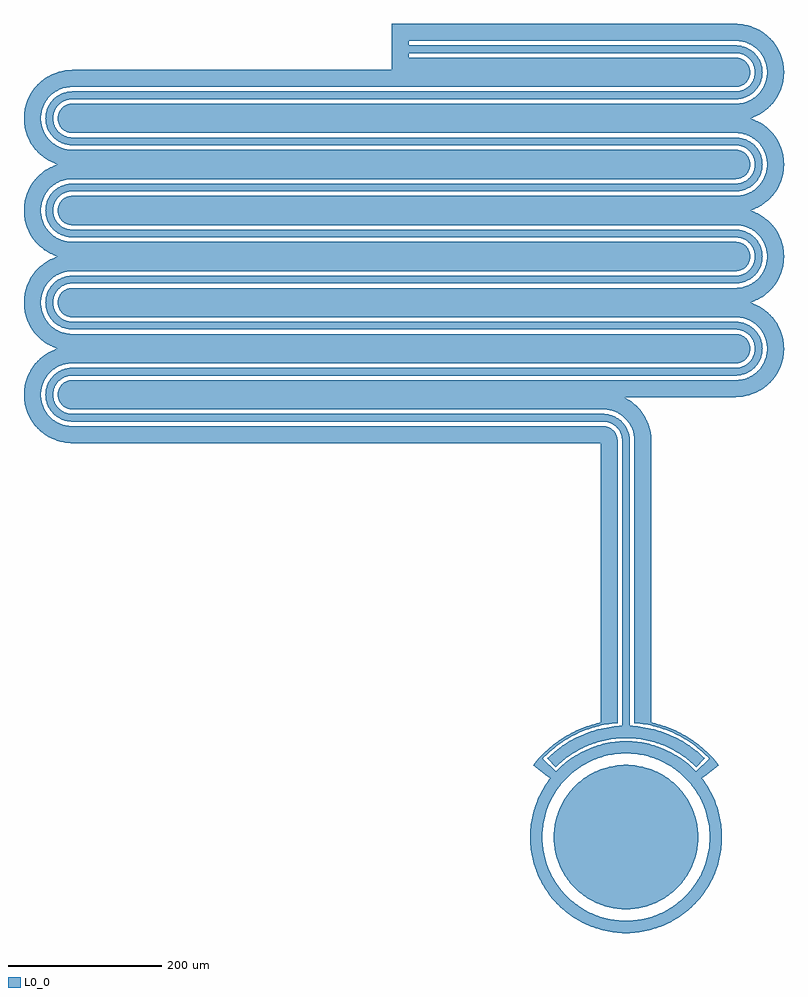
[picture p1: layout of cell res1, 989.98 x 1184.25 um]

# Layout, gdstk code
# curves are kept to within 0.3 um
import gdstk
lib = gdstk.Library(unit=1e-6, precision=1e-09)
def P(c, l, *ps):  # polygons
    for p in ps: c.add(gdstk.Polygon(p, *l))
L0_0 = (0, 0)

res1 = lib.new_cell('res1')
P(res1, L0_0, [(3084,2443.19),(3549.963,2443.19),(3547.222,2448.371),(3543.031,2452.47),(3537.791,2455.096),(3532.84,2455.981),(3106,2456),(3106,2462),(3533.19,2461.972),(3540.177,2460.625),(3544.5,2458.651),(3547.454,2456.651),(3550.894,2453.372),(3553.031,2450.516),(3554.741,2447.385),(3556.216,2443.19),(3566.441,2443.19),(3565.075,2448.447),(3563.109,2453.038),(3559.512,2458.636),(3556.153,2462.331),(3550.922,2466.444),(3546.54,2468.837),(3541.861,2470.582),(3535.327,2471.842),(3106,2472),(3106,2478),(3535.624,2477.84),(3542.758,2476.564),(3547.899,2474.792),(3554.305,2471.402),(3560.013,2466.937),(3564.847,2461.537),(3568.654,2455.371),(3571.316,2448.63),(3572.527,2443.19),(3594.688,2443.19),(3593.762,2449.43),(3592.056,2456.035),(3587.661,2466.51),(3581.457,2476.025),(3573.646,2484.272),(3564.48,2490.982),(3554.258,2495.937),(3543.313,2498.976),(3532,2500),(3084,2500)],
  [(3594.908,2440.411),(3594.688,2443.19),(3572.527,2443.19),(3572.91,2434.281),(3571.792,2427.12),(3568.654,2418.629),(3564.847,2412.463),(3590.015,2412.463),(3592.704,2420.146),(3594.17,2426.808),(3594.908,2433.589)],
  [(3556.295,2442.894),(3556.972,2438.19),(3556.746,2433.442),(3555.625,2428.823),(3553.031,2423.484),(3550.093,2419.748),(3546.501,2416.636),(3542.385,2414.259),(3536.782,2412.463),(3556.947,2412.463),(3561.444,2418.078),(3564.493,2423.992),(3566.368,2430.376),(3567,2437),(3566.441,2443.19)],
  [(3084,2440),(2663.454,2439.836),(2656.687,2438.976),(2650.053,2437.389),(2643.628,2435.095),(2637.49,2432.119),(2631.71,2428.498),(2626.354,2424.272),(2621.488,2419.492),(2615.932,2412.463),(2647.433,2412.463),(2652.101,2414.792),(2657.242,2416.564),(2662.573,2417.639),(2668,2418),(3532.84,2418.019),(3536.985,2418.666),(3540.887,2420.206),(3544.982,2423.127),(3547.71,2426.313),(3549.672,2430.021),(3550.773,2434.069),(3550.884,2439.097),(3549.963,2443.19),(3084,2443.19)],
  [(3564.017,2411.402),(3558.662,2405.853),(3551.177,2400.761),(3542.758,2397.436),(3533.814,2396.04),(2668,2396),(2663.831,2395.537),(2659.865,2394.17),(2656.295,2391.966),(2652.845,2388.456),(3572.149,2388.456),(3578.512,2394.508),(3582.834,2399.786),(3586.56,2405.5),(3590.015,2412.463),(3564.847,2412.463)],
  [(3536.731,2412.452),(3532,2412),(2666.335,2411.96),(2661.376,2411.368),(2656.553,2410.075),(2651.962,2408.109),(2646.969,2404.965),(2642.669,2401.153),(2639.49,2397.302),(2636.891,2393.038),(2634.928,2388.456),(2645.779,2388.456),(2649.106,2393.372),(2654.484,2398.031),(2659.823,2400.625),(2666.81,2401.972),(3532,2402),(3538.624,2402.632),(3545.008,2404.507),(3550.922,2407.556),(3556.947,2412.463)],
  [(2615.856,2412.355),(2612.339,2406.51),(2609.474,2400.319),(2607.296,2393.854),(2606.06,2388.456),(2628.637,2388.456),(2631.346,2395.371),(2636.271,2402.966),(2641.338,2408.147),(2647.433,2412.463)],
  [(2652.778,2388.371),(2650.328,2383.979),(2649.116,2379.097),(2649.227,2374.069),(2650.654,2369.246),(2653.296,2364.967),(2656.969,2361.53),(2662.209,2358.904),(2667.16,2358.019),(3532,2358),(3539.219,2357.359),(3546.45,2355.364),(3581.96,2355.364),(3575.325,2362.738),(3568.29,2368.498),(3560.5,2373.185),(3551.175,2377),(3556.372,2378.905),(3562.51,2381.881),(3572.149,2388.456)],
  [(2634.925,2388.447),(2633.158,2380.327),(2633.158,2373.673),(2634.925,2365.553),(2638.556,2358.078),(2640.488,2355.364),(2655.475,2355.364),(2651.628,2358.106),(2648.349,2361.546),(2645.779,2365.544),(2644.013,2369.957),(2643.113,2374.624),(2643.113,2379.376),(2644.013,2384.043),(2645.779,2388.456)],
  [(2605.83,2387.192),(2605.092,2380.411),(2605.257,2371.32),(2606.727,2362.348),(2608.839,2355.364),(2633.177,2355.364),(2629.866,2361.941),(2627.491,2370.676),(2627.09,2379.719),(2628.637,2388.456),(2606.06,2388.456)],
  [(3546.704,2355.264),(3554.305,2351.402),(3561.31,2345.669),(3566.887,2338.538),(3570.31,2331.584),(3593.288,2331.584),(3591.329,2338.191),(3588.69,2344.481),(3585.387,2350.449),(3581.96,2355.364)],
  [(2641.549,2354.08),(2646.969,2349.035),(2653.46,2345.163),(2659.748,2342.987),(2666.335,2342.04),(3532,2342),(3537.894,2341.295),(3543.456,2339.221),(3548.372,2335.894),(3552.302,2331.584),(3563.816,2331.584),(3561.444,2335.922),(3558.451,2339.92),(3554.92,2343.451),(3550.922,2346.444),(3546.54,2348.837),(3541.861,2350.582),(3533.665,2351.96),(2668,2352),(2660.957,2353.013),(2655.475,2355.364),(2640.488,2355.364)],
  [(2609.474,2353.681),(2612.339,2347.49),(2615.856,2341.645),(2619.984,2336.215),(2624.347,2331.584),(3544.172,2331.584),(3538.586,2334.822),(3532,2336),(2666.186,2336.04),(2657.242,2337.436),(2652.101,2339.208),(2647.239,2341.645),(2639.987,2347.063),(2636.271,2351.034),(2633.177,2355.364),(2608.839,2355.364)],
  [(3570.429,2331.262),(3572.509,2323.324),(3572.91,2314.281),(3571.316,2305.37),(3568.276,2297.914),(3592.039,2297.914),(3593.762,2304.57),(3594.908,2313.589),(3594.743,2322.68),(3593.288,2331.584),(3570.31,2331.584)],
  [(3552.364,2331.501),(3554.741,2327.385),(3556.295,2322.894),(3556.972,2318.19),(3556.746,2313.442),(3555.625,2308.823),(3553.651,2304.5),(3550.894,2300.628),(3548.139,2297.914),(3561.333,2297.914),(3564.493,2303.992),(3566.368,2310.376),(3567,2317),(3566.013,2325.252),(3563.816,2331.584)],
  [(2624.675,2331.262),(2629.874,2326.846),(2635.52,2323.018),(2641.547,2319.823),(2648.825,2317),(2641.547,2314.177),(2633.592,2309.774),(2626.354,2304.272),(2620.098,2297.914),(3532,2298),(3536.169,2298.463),(3539.368,2299.487),(3543.031,2301.53),(3545.583,2303.714),(3547.71,2306.313),(3549.672,2310.021),(3550.995,2316.58),(3550.625,2320.758),(3549.346,2324.754),(3547.222,2328.371),(3544.172,2331.584),(2624.347,2331.584)],
  [(3567.806,2297.026),(3564.847,2292.463),(3562.55,2289.656),(3558.662,2285.853),(3554.305,2282.598),(3549.555,2279.949),(3544.497,2277.951),(3539.219,2276.641),(3533.814,2276.04),(2668,2276),(2665.485,2275.833),(2663.164,2275.371),(3579.272,2275.371),(3582.834,2279.786),(3586.56,2285.5),(3589.646,2291.584),(3592.039,2297.914),(3568.276,2297.914)],
  [(3548.038,2297.831),(3544.5,2295.349),(3540.177,2293.375),(3535.558,2292.254),(3532,2292),(2666.335,2291.96),(2658.139,2290.582),(2650.5,2287.311),(2643.847,2282.331),(2638.22,2275.371),(2651.053,2275.371),(2654.484,2278.031),(2658.708,2280.209),(2663.269,2281.548),(2668,2282),(3533.665,2282.04),(3540.252,2282.987),(3546.54,2285.163),(3552.302,2288.49),(3557.331,2292.847),(3561.333,2297.914)],
  [(2619.984,2297.785),(2615.856,2292.355),(2612.339,2286.51),(2607.747,2275.371),(2631.346,2275.371),(2634.1,2280.06),(2637.45,2284.344),(2641.338,2288.147),(2645.695,2291.402),(2650.445,2294.051),(2655.503,2296.049),(2660.781,2297.359),(2665.485,2297.914)],
  [(2663.015,2275.334),(2657.664,2272.942),(2653.296,2269.033),(2650.328,2263.979),(2649.042,2258.26),(2649.56,2252.422),(2651.833,2247.019),(2655.645,2242.566),(2660.632,2239.487),(3578.516,2239.487),(3573.646,2244.272),(3566.408,2249.774),(3558.453,2254.177),(3551.175,2257),(3558.453,2259.823),(3566.408,2264.226),(3573.646,2269.728),(3579.272,2275.371)],
  [(2637.689,2274.5),(2634.925,2268.447),(2633.158,2260.327),(2633.158,2253.673),(2634.925,2245.553),(2637.697,2239.487),(2650.168,2239.487),(2646.969,2243.484),(2644.791,2247.708),(2643.254,2253.442),(2643.028,2258.19),(2643.705,2262.894),(2645.259,2267.385),(2647.636,2271.501),(2651.053,2275.371),(2638.22,2275.371)],
  [(2607.296,2273.854),(2605.502,2264.941),(2605.01,2255.863),(2605.83,2246.808),(2607.492,2239.487),(2630.939,2239.487),(2629.237,2243.642),(2627.81,2248.89),(2627.01,2257.907),(2628.208,2266.88),(2631.346,2275.371),(2607.747,2275.371)],
  [(2660.781,2239.428),(2664.655,2238.297),(2668,2238),(3533.814,2237.96),(3539.219,2237.359),(3544.497,2236.049),(3549.555,2234.051),(3554.305,2231.402),(3558.662,2228.147),(3562.55,2224.344),(3565.9,2220.06),(3568.156,2216.312),(3591.963,2216.312),(3589.646,2222.416),(3586.56,2228.5),(3582.834,2234.214),(3578.516,2239.487)],
  [(2638.556,2238.078),(2643.847,2231.669),(2650.5,2226.689),(2658.139,2223.418),(2663.019,2222.356),(2668,2222),(3532,2222),(3535.558,2221.746),(3540.177,2220.625),(3544.5,2218.651),(3547.865,2216.312),(3561.18,2216.312),(3558.451,2219.92),(3554.92,2223.451),(3548.038,2228.109),(3540.252,2231.013),(3532,2232),(2668,2232),(2663.269,2232.452),(2658.708,2233.791),(2654.484,2235.969),(2650.168,2239.487),(2637.697,2239.487)],
  [(2607.944,2237.965),(2612.339,2227.49),(2615.856,2221.645),(2619.905,2216.312),(2663.015,2216.312),(2653.788,2218.542),(2648.823,2220.761),(2644.195,2223.618),(2639.987,2227.063),(2636.271,2231.034),(2633.113,2235.462),(2630.939,2239.487),(2607.492,2239.487)],
  [(3568.654,2215.371),(3571.792,2206.88),(3572.91,2199.719),(3572.509,2190.676),(3570.285,2182.348),(3593.273,2182.348),(3594.743,2191.32),(3594.908,2200.411),(3593.762,2209.43),(3591.963,2216.312),(3568.156,2216.312)],
  [(3548.038,2216.169),(3550.894,2213.372),(3553.651,2209.5),(3555.625,2205.177),(3556.746,2200.558),(3556.972,2195.81),(3556.295,2191.106),(3554.741,2186.615),(3552.251,2182.348),(3563.783,2182.348),(3566.013,2188.748),(3567,2197),(3566.368,2203.624),(3563.837,2211.54),(3561.18,2216.312)],
  [(2619.984,2216.215),(2626.354,2209.728),(2633.592,2204.226),(2641.547,2199.823),(2648.825,2197),(2641.547,2194.177),(2635.52,2190.982),(2629.874,2187.154),(2624.278,2182.348),(3544.089,2182.348),(3546.704,2184.967),(3548.986,2188.487),(3550.44,2192.422),(3550.995,2196.58),(3550.773,2199.931),(3549.672,2203.979),(3547.71,2207.687),(3545.583,2210.286),(3543.031,2212.47),(3539.368,2214.513),(3536.169,2215.537),(3532,2216)],
  [(3570.134,2181.941),(3565.9,2173.94),(3560.013,2167.063),(3552.761,2161.645),(3544.729,2158.031),(3581.5,2158.031),(3585.387,2163.551),(3588.69,2169.519),(3591.329,2175.809),(3593.273,2182.348),(3570.285,2182.348)],
  [(3551.651,2181.546),(3548.372,2178.106),(3543.456,2174.779),(3537.894,2172.705),(3532,2172),(2666.335,2171.96),(2658.139,2170.582),(2651.962,2168.109),(2645.08,2163.451),(2640.035,2158.031),(2654.484,2158.031),(2660.957,2160.987),(2668,2162),(3533.665,2162.04),(3540.252,2162.987),(3546.54,2165.163),(3552.302,2168.49),(3557.331,2172.847),(3560.51,2176.698),(3563.783,2182.348),(3552.251,2182.348)],
  [(2623.052,2181.144),(2618.543,2176.025),(2614.613,2170.449),(2611.31,2164.481),(2608.617,2158.031),(2632.815,2158.031),(2638.69,2165.669),(2642.742,2169.296),(2647.239,2172.355),(2652.101,2174.792),(2657.242,2176.564),(2666.186,2177.96),(3532,2178),(3538.586,2179.178),(3544.089,2182.348),(2624.278,2182.348)],
  [(3544.497,2157.951),(3537.427,2156.361),(3532,2156),(2667.16,2155.981),(2660.632,2154.513),(2656.969,2152.47),(2654.417,2150.286),(2652.29,2147.687),(2650.328,2143.979),(2649.227,2139.931),(2649.005,2136.58),(2650.328,2130.021),(2653.636,2124.57),(3573.295,2124.57),(3568.29,2128.498),(3562.51,2132.119),(3556.372,2135.095),(3551.175,2137),(3560.5,2140.815),(3568.29,2145.502),(3575.325,2151.262),(3581.5,2158.031)],
  [(2639.49,2157.302),(2636.163,2151.54),(2633.632,2143.624),(2633,2137),(2633.632,2130.376),(2635.291,2124.57),(2646.311,2124.57),(2644.375,2128.823),(2643.254,2133.442),(2643.028,2138.19),(2643.705,2142.894),(2645.259,2147.385),(2647.636,2151.501),(2650.748,2155.093),(2654.484,2158.031),(2640.035,2158.031)],
  [(2607.944,2156.035),(2606.238,2149.43),(2605.092,2140.411),(2605.092,2133.589),(2606.238,2124.57),(2628.94,2124.57),(2627.251,2132.474),(2627.251,2141.526),(2629.237,2150.358),(2632.815,2158.031),(2608.617,2158.031)],
  [(2653.788,2124.392),(2656.295,2122.034),(2659.865,2119.83),(2663.831,2118.463),(2668,2118),(3533.814,2117.96),(3542.758,2116.564),(3547.899,2114.792),(3552.761,2112.355),(3560.013,2106.937),(3566.107,2099.741),(3590.744,2099.741),(3587.661,2106.51),(3584.144,2112.355),(3578.512,2119.492),(3573.295,2124.57)],
  [(2635.507,2123.992),(2637.689,2119.5),(2640.488,2115.364),(2643.847,2111.669),(2647.698,2108.49),(2651.962,2105.891),(2656.553,2103.925),(2661.376,2102.632),(2666.335,2102.04),(3532,2102),(3536.731,2101.548),(3542.385,2099.741),(3558.599,2099.741),(3553.636,2104.512),(3548.038,2108.109),(3541.861,2110.582),(3533.665,2111.96),(2668,2112),(2662.106,2112.705),(2655.5,2115.349),(2649.907,2119.748),(2646.311,2124.57),(2635.291,2124.57)],
  [(2606.727,2122.348),(2608.671,2115.809),(2610.879,2110.449),(2613.44,2105.5),(2617.2,2099.741),(2650.91,2099.741),(2644.195,2103.618),(2637.45,2109.656),(2632.194,2117.026),(2628.94,2124.57),(2606.238,2124.57)],
  [(3566.887,2098.538),(3570.763,2090.358),(3572.509,2083.324),(3572.91,2074.281),(3571.572,2066.313),(3594.08,2066.313),(3594.908,2073.589),(3594.743,2082.68),(3593.273,2091.652),(3590.744,2099.741),(3566.107,2099.741)],
  [(3543.456,2099.221),(3547.454,2096.651),(3550.894,2093.372),(3553.651,2089.5),(3555.625,2085.177),(3556.746,2080.558),(3556.972,2075.81),(3556.295,2071.106),(3554.594,2066.313),(3565.318,2066.313),(3566.842,2073.673),(3566.644,2081.981),(3564.493,2090.008),(3561.444,2095.922),(3558.599,2099.741),(3542.385,2099.741)],
  [(2618.543,2097.975),(2624.675,2091.262),(2631.71,2085.502),(2639.5,2080.815),(2648.825,2077),(2643.628,2075.095),(2637.49,2072.119),(2628.808,2066.313),(3547.71,2066.313),(3550.22,2071.61),(3550.995,2076.58),(3550.773,2079.931),(3549.672,2083.979),(3547.71,2087.687),(3545.583,2090.286),(3543.031,2092.47),(3539.368,2094.513),(3532.84,2095.981),(2668,2096),(2659.003,2096.999),(2650.91,2099.741),(2617.2,2099.741)],
  [(3571.316,2065.37),(3567.806,2057.026),(3562.55,2049.656),(3555.805,2043.618),(3547.928,2039.221),(3582.404,2039.221),(3586.56,2045.5),(3589.646,2051.584),(3592.056,2057.965),(3594.08,2066.313),(3571.572,2066.313)],
  [(3554.221,2065.544),(3550.894,2060.628),(3545.516,2055.969),(3540.177,2053.375),(3533.19,2052.028),(2668,2052),(2661.376,2051.368),(2653.46,2048.837),(2646.364,2044.512),(2640.971,2039.221),(2656.544,2039.221),(2662.106,2041.295),(2668,2042),(3533.665,2042.04),(3540.252,2042.987),(3546.54,2045.163),(3553.636,2049.488),(3558.451,2054.08),(3562.311,2059.5),(3565.318,2066.313),(3554.594,2066.313)],
  [(2628.088,2065.745),(2623.052,2061.144),(2617.166,2054.214),(2612.339,2046.51),(2609.06,2039.221),(2633.556,2039.221),(2636.271,2042.966),(2639.987,2046.937),(2647.239,2052.355),(2652.101,2054.792),(2657.242,2056.564),(2666.186,2057.96),(3532,2058),(3536.169,2058.463),(3540.887,2060.206),(3544.982,2063.127),(3547.71,2066.313),(2628.808,2066.313)],
  [(3547.899,2039.208),(3540.997,2036.999),(3532,2036),(2667.16,2035.981),(2660.632,2034.513),(2656.969,2032.47),(2654.417,2030.286),(2652.29,2027.687),(2650.328,2023.979),(2649.227,2019.931),(2649.005,2016.58),(2649.78,2011.61),(2651.762,2007.139),(3397.334,2007.139),(3392.019,2010.776),(3386.029,2014),(3532,2014),(3538.811,2014.369),(3545.543,2015.473),(3556.372,2018.905),(3566.408,2024.226),(3575.325,2031.262),(3582.404,2039.221)],
  [(2640.488,2038.636),(2636.163,2031.54),(2633.632,2023.624),(2633.04,2015.335),(2634.418,2007.139),(2645.035,2007.139),(2643.705,2011.106),(2643.028,2015.81),(2643.254,2020.558),(2644.375,2025.177),(2646.349,2029.5),(2649.106,2033.372),(2652.546,2036.651),(2656.544,2039.221),(2640.971,2039.221)],
  [(2608.671,2038.191),(2606.727,2031.652),(2605.257,2022.68),(2605.01,2015.863),(2605.782,2007.139),(2628.204,2007.139),(2627.01,2016.093),(2627.491,2023.324),(2629.866,2032.059),(2633.556,2039.221),(2609.06,2039.221)],
  [(2651.833,2007.019),(2655.018,2003.127),(2659.113,2000.206),(2663.831,1998.463),(2668,1998),(3360.988,1997.961),(3369.812,1996.603),(3374.89,1994.879),(3379.7,1992.507),(3386.899,1987.228),(3390.608,1983.354),(3393.303,1979.741),(3417.948,1979.741),(3414.139,1987.833),(3409.064,1995.504),(3402.927,2002.354),(3397.334,2007.139)],
  [(2634.925,2005.553),(2636.891,2000.962),(2639.49,1996.698),(2642.669,1992.847),(2646.364,1989.488),(2650.5,1986.689),(2654.992,1984.507),(2661.376,1982.632),(2666.335,1982.04),(3359.2,1982),(3363.931,1981.548),(3369.585,1979.741),(3385.799,1979.741),(3380.836,1984.512),(3373.74,1988.837),(3365.824,1991.368),(3359.2,1992),(2666.81,1992.028),(2659.823,1993.375),(2653.499,1996.636),(2648.349,2001.546),(2645.035,2007.139),(2634.418,2007.139)],
  [(2605.83,2006.808),(2607.944,1997.965),(2610.354,1991.584),(2613.44,1985.5),(2617.2,1979.741),(2650.91,1979.741),(2642.742,1984.704),(2636.271,1991.034),(2631.346,1998.629),(2628.204,2007.139),(2605.782,2007.139)],
  [(3393.779,1979.029),(3396.359,1974.327),(3398.803,1967.612),(3399.849,1962.352),(3400.2,1957),(3400.2,1589.323),(3414.785,1587.525),(3429.915,1584.057),(3442.735,1584.057),(3433.843,1587.08),(3422.2,1590.127),(3422.2,1957),(3421.822,1963.89),(3420.151,1972.935),(3417.948,1979.741),(3393.303,1979.741)],
  [(3370.656,1979.221),(3375.572,1975.894),(3380.231,1970.516),(3382.825,1965.177),(3384.172,1958.19),(3384.2,1585.65),(3367.189,1584.057),(3411.211,1584.057),(3394.2,1585.65),(3394.042,1960.327),(3393.213,1965.252),(3391.693,1970.008),(3389.511,1974.5),(3385.799,1979.741),(3369.585,1979.741)],
  [(2618.543,1977.975),(2623.052,1972.856),(2628.088,1968.255),(2633.592,1964.226),(2639.5,1960.815),(2645.742,1958.063),(2652.244,1956.002),(2658.932,1954.656),(2665.726,1954.041),(3356.2,1954),(3356.2,1590.127),(3344.557,1587.08),(3335.665,1584.057),(3348.485,1584.057),(3363.615,1587.525),(3378.2,1589.323),(3378.182,1957.829),(3377.321,1962.713),(3375.224,1967.209),(3372.036,1971.008),(3367.973,1973.853),(3364.118,1975.353),(3359.2,1976),(2668,1976),(2659.003,1976.999),(2650.91,1979.741),(2617.2,1979.741)],
  [(3431.466,1583.618),(3444.418,1579.128),(3459.939,1571.875),(3471.692,1564.819),(3482.845,1556.631),(3489.078,1556.631),(3480.294,1563.664),(3471.688,1569.597),(3462.698,1574.928),(3453.364,1579.633),(3442.735,1584.057),(3429.915,1584.057)],
  [(3363.835,1583.502),(3347.312,1579.556),(3331.364,1573.704),(3316.21,1566.027),(3302.058,1556.631),(3332.553,1556.631),(3346.186,1562.355),(3360.705,1566.551),(3375.616,1569.021),(3387.688,1569.729),(3402.784,1569.021),(3417.695,1566.551),(3432.214,1562.355),(3445.847,1556.631),(3476.342,1556.631),(3465.107,1564.282),(3450.137,1572.312),(3437.549,1577.44),(3424.535,1581.367),(3411.211,1584.057),(3367.189,1584.057)],
  [(3384.412,1565.646),(3371.698,1564.507),(3362.275,1562.804),(3353.01,1560.384),(3342.39,1556.631),(3436.01,1556.631),(3422.323,1561.27),(3409.857,1564.019),(3397.176,1565.483)],
  [(3334.669,1583.69),(3321.889,1578.136),(3309.668,1571.442),(3298.106,1563.664),(3289.322,1556.631),(3295.555,1556.631),(3306.708,1564.819),(3321.497,1573.468),(3333.982,1579.128),(3348.485,1584.057),(3335.665,1584.057)],
  [(3287.3,1554.867),(3277.339,1545.123),(3268.306,1534.513),(3286.714,1520.234),(3314.625,1520.234),(3323.121,1527.425),(3329.951,1532.229),(3337.129,1536.496),(3347.166,1541.307),(3354.988,1544.23),(3363.011,1546.545),(3373.938,1548.664),(3382.245,1549.516),(3393.375,1549.658),(3404.462,1548.664),(3415.389,1546.545),(3426.044,1543.322),(3436.314,1539.03),(3446.093,1533.712),(3455.279,1527.425),(3463.775,1520.234),(3491.686,1520.234),(3510.094,1534.513),(3501.061,1545.123),(3489.078,1556.631),(3482.845,1556.631),(3490.523,1549.984),(3497.816,1542.735),(3480.314,1526.299),(3469.955,1536.151),(3459.803,1543.889),(3448.915,1550.552),(3436.01,1556.631),(3342.39,1556.631),(3329.485,1550.552),(3318.597,1543.889),(3308.445,1536.151),(3298.086,1526.299),(3280.584,1542.735),(3287.877,1549.984),(3295.555,1556.631),(3289.322,1556.631)],
  [(3299.365,1554.556),(3286.67,1543.268),(3297.983,1531.955),(3304.619,1538.139),(3314.112,1545.632),(3324.264,1552.202),(3332.553,1556.631),(3302.058,1556.631)],
  [(3446.142,1556.49),(3454.136,1552.202),(3464.288,1545.632),(3473.781,1538.139),(3480.417,1531.955),(3491.73,1543.268),(3484.272,1550.22),(3476.342,1556.631)],
  [(3514.037,1447.12),(3513.182,1456.658),(3511.6,1466.102),(3509.299,1475.397),(3506.293,1484.489),(3502.601,1493.324),(3498.242,1501.85),(3493.244,1510.018),(3487.965,1517.348),(3491.686,1520.234),(3463.775,1520.234),(3469.642,1514.292),(3475.036,1507.918),(3479.927,1501.15),(3484.285,1494.028),(3488.085,1486.593),(3491.305,1478.889),(3493.926,1470.961),(3495.932,1462.855),(3497.312,1454.62),(3498.058,1446.303),(3498.164,1437.954),(3497.632,1429.621),(3496.462,1421.353),(3494.664,1413.199),(3491.305,1402.587),(3488.085,1394.883),(3505.476,1394.883),(3510.145,1409.157),(3512.735,1421.657),(3514.037,1434.355)],
  [(3290.435,1517.348),(3281.754,1504.615),(3274.493,1490.411),(3269.101,1475.397),(3265.665,1459.819),(3264.241,1443.93),(3264.852,1427.989),(3267.488,1412.256),(3270.025,1403.023),(3272.924,1394.883),(3290.315,1394.883),(3287.095,1402.587),(3283.736,1413.199),(3281.938,1421.353),(3280.768,1429.621),(3280.236,1437.954),(3280.342,1446.303),(3281.088,1454.62),(3282.468,1462.855),(3284.474,1470.961),(3287.095,1478.889),(3290.315,1486.593),(3294.115,1494.028),(3298.473,1501.15),(3303.364,1507.918),(3308.758,1514.292),(3314.625,1520.234),(3286.714,1520.234)],
  [(3273.262,1394.011),(3277.179,1385.273),(3281.754,1376.861),(3286.959,1368.823),(3292.764,1361.208),(3299.135,1354.059),(3306.034,1347.419),(3313.422,1341.326),(3321.254,1335.817),(3329.485,1330.924),(3338.066,1326.675),(3353.01,1321.091),(3362.275,1318.672),(3371.698,1316.969),(3381.224,1315.993),(3390.796,1315.748),(3406.702,1316.969),(3416.125,1318.672),(3425.39,1321.091),(3434.443,1324.213),(3443.23,1328.018),(3451.7,1332.485),(3459.803,1337.587),(3467.492,1343.294),(3474.722,1349.573),(3481.449,1356.387),(3487.636,1363.696),(3493.244,1371.458),(3498.242,1379.625),(3505.476,1394.883),(3488.085,1394.883),(3484.285,1387.448),(3479.927,1380.325),(3475.036,1373.558),(3469.642,1367.184),(3463.775,1361.242),(3455.279,1354.051),(3448.449,1349.247),(3441.271,1344.98),(3428.652,1339.128),(3418.083,1335.634),(3404.462,1332.812),(3390.592,1331.747),(3376.7,1332.457),(3363.011,1334.931),(3349.748,1339.128),(3337.129,1344.98),(3329.951,1349.247),(3323.121,1354.051),(3314.625,1361.242),(3308.758,1367.184),(3303.364,1373.558),(3298.473,1380.325),(3294.115,1387.448),(3290.315,1394.883),(3272.924,1394.883)],
  [(3386.414,1534.697),(3375.321,1533.708),(3367.121,1532.108),(3359.095,1529.787),(3351.306,1526.762),(3341.398,1521.676),(3334.4,1517.112),(3327.835,1511.944),(3321.754,1506.214),(3316.207,1499.966),(3311.236,1493.251),(3305.572,1483.661),(3302.091,1476.066),(3299.298,1468.191),(3296.682,1457.366),(3295.571,1449.085),(3295.2,1440.738),(3483.2,1440.738),(3482.829,1449.085),(3481.718,1457.366),(3479.102,1468.191),(3476.309,1476.066),(3472.828,1483.661),(3467.164,1493.251),(3460.406,1502.103),(3454.676,1508.184),(3448.428,1513.731),(3441.713,1518.702),(3432.123,1524.366),(3424.528,1527.847),(3416.653,1530.64),(3405.828,1533.256),(3397.547,1534.367)],
  [(3295.241,1437.952),(3296.23,1426.859),(3297.83,1418.659),(3300.151,1410.632),(3303.176,1402.844),(3306.881,1395.355),(3312.826,1385.938),(3317.994,1379.373),(3323.724,1373.292),(3332.161,1366.022),(3339.021,1361.252),(3346.277,1357.11),(3356.469,1352.62),(3364.423,1350.062),(3372.572,1348.22),(3380.853,1347.109),(3391.986,1346.779),(3403.079,1347.768),(3411.279,1349.368),(3419.305,1351.689),(3427.094,1354.714),(3437.002,1359.8),(3444,1364.364),(3450.565,1369.532),(3456.646,1375.262),(3462.193,1381.51),(3468.686,1390.558),(3472.828,1397.815),(3476.309,1405.41),(3479.102,1413.285),(3481.718,1424.11),(3482.829,1432.391),(3483.2,1440.738),(3295.2,1440.738)])

lib.write_gds('res1.gds')
